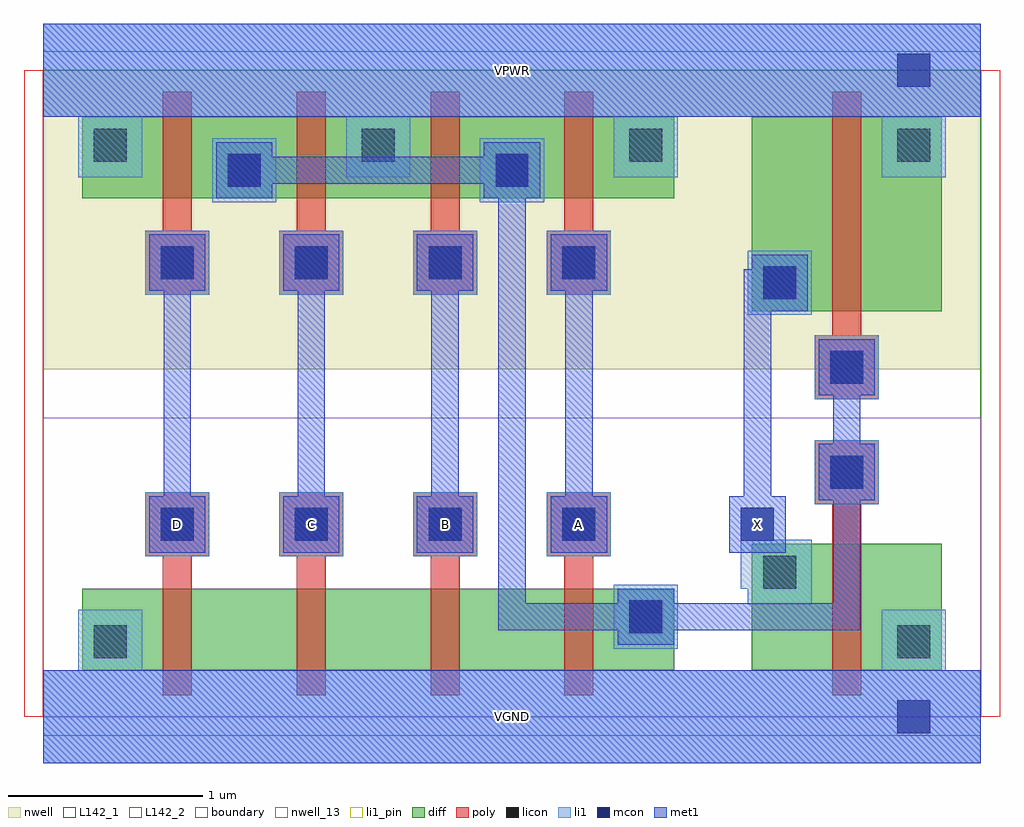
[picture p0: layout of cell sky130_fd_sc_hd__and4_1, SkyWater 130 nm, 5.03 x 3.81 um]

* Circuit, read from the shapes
.subckt sky130_fd_sc_hd__and4_1 A B C D VGND VPWR X
XM1 n1 D VGND VSUBS sky130_fd_pr__nfet_01v8 w=0.42 l=0.15
XM2 n2 C n1 VSUBS sky130_fd_pr__nfet_01v8 w=0.42 l=0.15
XM3 n3 B n2 VSUBS sky130_fd_pr__nfet_01v8 w=0.42 l=0.15
XM4 n4 A n3 VSUBS sky130_fd_pr__nfet_01v8 w=0.42 l=0.15
XM5 VGND n4 X VSUBS sky130_fd_pr__nfet_01v8 w=0.65 l=0.15
XM6 n4 D VPWR n5 sky130_fd_pr__pfet_01v8 w=0.42 l=0.15
XM7 VPWR C n4 n5 sky130_fd_pr__pfet_01v8 w=0.42 l=0.15
XM8 n4 B VPWR n5 sky130_fd_pr__pfet_01v8 w=0.42 l=0.15
XM9 VPWR A n4 n5 sky130_fd_pr__pfet_01v8 w=0.42 l=0.15
XM10 VPWR n4 X n5 sky130_fd_pr__pfet_01v8 w=1 l=0.15
.ends

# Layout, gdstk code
import gdstk
lib = gdstk.Library(unit=1e-6, precision=1e-09)
def R(c, l, rs):  # rectangles x0, y0, x1, y1
    for r in rs: c.add(gdstk.rectangle(r[:2], r[2:], *l))
def A(c, l, x, y, w, h, nx, ny, dx, dy):  # array of equal rectangles
    R(c, l, [(x+i*dx, y+j*dy, x+i*dx+w, y+j*dy+h) for i in range(nx) for j in range(ny)])
def P(c, l, *ps):  # polygons
    for p in ps: c.add(gdstk.Polygon(p, *l))
nwell_13 = (64, 13)
nwell = (64, 20)
diff = (65, 20)
poly = (66, 20)
licon = (66, 44)
li1_pin = (67, 16)
li1 = (67, 20)
mcon = (67, 44)
met1 = (68, 20)
L142_1 = (142, 1)
L142_2 = (142, 2)
boundary = (235, 4)

sky130_fd_sc_hd__and4_1 = lib.new_cell('sky130_fd_sc_hd__and4_1')
R(sky130_fd_sc_hd__and4_1, nwell_13, [(0,0,4.83,1.54)])
R(sky130_fd_sc_hd__and4_1, nwell, [(0,1.79,4.83,3.33)])
A(sky130_fd_sc_hd__and4_1, diff, 0.615, 0.24, 0.69, 0.42, 3, 2, 0.69, 2.43)
R(sky130_fd_sc_hd__and4_1, diff, [(0.2,0.24,3.25,0.66), (0.2,0.24,0.615,0.66), (2.685,0.24,3.25,0.66), (3.65,0.24,4.63,0.89), (3.65,0.24,4.065,0.89), (4.065,0.24,4.63,0.89), (3.65,2.09,4.63,3.09), (3.65,2.09,4.065,3.09), (4.065,2.09,4.63,3.09), (0.2,2.67,3.25,3.09), (0.2,2.67,0.615,3.09), (2.685,2.67,3.25,3.09)])
P(sky130_fd_sc_hd__and4_1, poly, [(1.995,0.11),(1.995,0.825),(1.905,0.825),(1.905,1.155),(2.235,1.155),(2.235,0.825),(2.145,0.825),(2.145,0.11)],
  [(1.905,2.175),(1.905,2.505),(1.995,2.505),(1.995,3.22),(2.145,3.22),(2.145,2.505),(2.235,2.505),(2.235,2.175)],
  [(4.065,0.11),(4.065,1.095),(3.975,1.095),(3.975,1.425),(4.305,1.425),(4.305,1.095),(4.215,1.095),(4.215,0.11)],
  [(3.975,1.635),(3.975,1.965),(4.065,1.965),(4.065,3.22),(4.215,3.22),(4.215,1.965),(4.305,1.965),(4.305,1.635)],
  [(0.615,0.11),(0.615,0.825),(0.525,0.825),(0.525,1.155),(0.855,1.155),(0.855,0.825),(0.765,0.825),(0.765,0.11)],
  [(0.525,2.175),(0.525,2.505),(0.615,2.505),(0.615,3.22),(0.765,3.22),(0.765,2.505),(0.855,2.505),(0.855,2.175)],
  [(1.305,0.11),(1.305,0.825),(1.215,0.825),(1.215,1.155),(1.545,1.155),(1.545,0.825),(1.455,0.825),(1.455,0.11)],
  [(1.215,2.175),(1.215,2.505),(1.305,2.505),(1.305,3.22),(1.455,3.22),(1.455,2.505),(1.545,2.505),(1.545,2.175)],
  [(2.685,0.11),(2.685,0.825),(2.595,0.825),(2.595,1.155),(2.925,1.155),(2.925,0.825),(2.835,0.825),(2.835,0.11)],
  [(2.595,2.175),(2.595,2.505),(2.685,2.505),(2.685,3.22),(2.835,3.22),(2.835,2.505),(2.925,2.505),(2.925,2.175)])
A(sky130_fd_sc_hd__and4_1, licon, 0.605, 0.905, 0.17, 0.17, 4, 2, 0.69, 1.35)
A(sky130_fd_sc_hd__and4_1, licon, 0.26, 2.86, 0.17, 0.17, 4, 1, 1.38, 0)
R(sky130_fd_sc_hd__and4_1, licon, [(0.26,0.3,0.43,0.47), (4.4,0.3,4.57,0.47), (3.02,0.43,3.19,0.6), (3.71,0.66,3.88,0.83), (4.055,1.175,4.225,1.345), (4.055,1.715,4.225,1.885), (3.71,2.15,3.88,2.32), (0.95,2.73,1.12,2.9), (2.33,2.73,2.5,2.9)])
A(sky130_fd_sc_hd__and4_1, li1_pin, 0.525, 0.825, 0.33, 0.33, 4, 1, 0.69, 0)
R(sky130_fd_sc_hd__and4_1, li1_pin, [(0,-0.24,4.83,0.24), (0,3.09,4.83,3.57)])
P(sky130_fd_sc_hd__and4_1, li1_pin, [(3.63,0.58),(3.63,0.66),(3.595,0.66),(3.595,1.075),(3.765,1.075),(3.765,0.91),(3.96,0.91),(3.96,0.58)])
A(sky130_fd_sc_hd__and4_1, li1, 0.525, 0.825, 0.33, 0.33, 4, 2, 0.69, 1.35)
R(sky130_fd_sc_hd__and4_1, li1, [(2.94,0.35,3.27,0.68), (3.975,1.095,4.305,1.425), (3.975,1.635,4.305,1.965), (3.63,2.07,3.96,2.4), (0.87,2.65,1.2,2.98), (2.25,2.65,2.58,2.98)])
P(sky130_fd_sc_hd__and4_1, li1, [(0.18,2.78),(0.18,3.09),(0,3.09),(0,3.57),(4.83,3.57),(4.83,3.09),(4.65,3.09),(4.65,2.78),(4.32,2.78),(4.32,3.09),(3.27,3.09),(3.27,2.78),(2.94,2.78),(2.94,3.09),(1.89,3.09),(1.89,2.78),(1.56,2.78),(1.56,3.09),(0.51,3.09),(0.51,2.78)],
  [(0,-0.24),(0,0.24),(0.18,0.24),(0.18,0.55),(0.51,0.55),(0.51,0.24),(4.32,0.24),(4.32,0.55),(4.65,0.55),(4.65,0.24),(4.83,0.24),(4.83,-0.24)],
  [(3.63,0.58),(3.63,0.66),(3.595,0.66),(3.595,1.075),(3.765,1.075),(3.765,0.91),(3.96,0.91),(3.96,0.58)])
A(sky130_fd_sc_hd__and4_1, mcon, 0.605, 0.905, 0.17, 0.17, 4, 2, 0.69, 1.35)
R(sky130_fd_sc_hd__and4_1, mcon, [(4.4,-0.085,4.57,0.085), (3.02,0.43,3.19,0.6), (3.595,0.905,3.765,1.075), (4.055,1.175,4.225,1.345), (4.055,1.715,4.225,1.885), (3.71,2.15,3.88,2.32), (0.95,2.73,1.12,2.9), (2.33,2.73,2.5,2.9), (4.4,3.245,4.57,3.415)])
R(sky130_fd_sc_hd__and4_1, met1, [(0,-0.24,4.83,0.24), (0,3.09,4.83,3.57)])
P(sky130_fd_sc_hd__and4_1, met1, [(1.925,0.845),(1.925,1.135),(2,1.135),(2,2.195),(1.925,2.195),(1.925,2.485),(2.215,2.485),(2.215,2.195),(2.14,2.195),(2.14,1.135),(2.215,1.135),(2.215,0.845)],
  [(2.96,0.37),(2.96,0.445),(2.345,0.445),(2.345,2.67),(2.27,2.67),(2.27,2.745),(1.18,2.745),(1.18,2.67),(0.89,2.67),(0.89,2.96),(1.18,2.96),(1.18,2.885),(2.27,2.885),(2.27,2.96),(2.56,2.96),(2.56,2.67),(2.485,2.67),(2.485,0.585),(2.96,0.585),(2.96,0.66),(3.25,0.66),(3.25,0.585),(4.07,0.585),(4.07,1.115),(3.995,1.115),(3.995,1.405),(4.07,1.405),(4.07,1.655),(3.995,1.655),(3.995,1.945),(4.285,1.945),(4.285,1.655),(4.21,1.655),(4.21,1.405),(4.285,1.405),(4.285,1.115),(4.21,1.115),(4.21,0.445),(3.25,0.445),(3.25,0.37)],
  [(0.545,0.845),(0.545,1.135),(0.62,1.135),(0.62,2.195),(0.545,2.195),(0.545,2.485),(0.835,2.485),(0.835,2.195),(0.76,2.195),(0.76,1.135),(0.835,1.135),(0.835,0.845)],
  [(1.235,0.845),(1.235,1.135),(1.31,1.135),(1.31,2.195),(1.235,2.195),(1.235,2.485),(1.525,2.485),(1.525,2.195),(1.45,2.195),(1.45,1.135),(1.525,1.135),(1.525,0.845)],
  [(2.615,0.845),(2.615,1.135),(2.69,1.135),(2.69,2.195),(2.615,2.195),(2.615,2.485),(2.905,2.485),(2.905,2.195),(2.83,2.195),(2.83,1.135),(2.905,1.135),(2.905,0.845)],
  [(3.535,0.845),(3.535,1.135),(3.61,1.135),(3.61,2.305),(3.65,2.305),(3.65,2.38),(3.94,2.38),(3.94,2.09),(3.75,2.09),(3.75,1.135),(3.825,1.135),(3.825,0.845)])
R(sky130_fd_sc_hd__and4_1, L142_1, [(0,-0.1,4.83,0), (0,3.33,4.83,3.43)])
R(sky130_fd_sc_hd__and4_1, L142_2, [(-0.1,0,0,3.33), (4.83,0,4.93,3.33)])
R(sky130_fd_sc_hd__and4_1, boundary, [(0,0,4.83,3.33)])
sky130_fd_sc_hd__and4_1.add(gdstk.Label('X', (3.68,0.99), layer=67, texttype=5))
sky130_fd_sc_hd__and4_1.add(gdstk.Label('A', (2.76,0.99), layer=67, texttype=5))
sky130_fd_sc_hd__and4_1.add(gdstk.Label('C', (1.38,0.99), layer=67, texttype=5))
sky130_fd_sc_hd__and4_1.add(gdstk.Label('B', (2.07,0.99), layer=67, texttype=5))
sky130_fd_sc_hd__and4_1.add(gdstk.Label('D', (0.69,0.99), layer=67, texttype=5))
sky130_fd_sc_hd__and4_1.add(gdstk.Label('VGND', (2.415,0), layer=67, texttype=5))
sky130_fd_sc_hd__and4_1.add(gdstk.Label('VPWR', (2.415,3.33), layer=67, texttype=5))
sky130_fd_sc_hd__and4_1.add(gdstk.Label('VGND', (2.415,0), layer=68, texttype=5))
sky130_fd_sc_hd__and4_1.add(gdstk.Label('VPWR', (2.415,3.33), layer=68, texttype=5))

lib.write_gds('sky130_fd_sc_hd__and4_1.gds')
